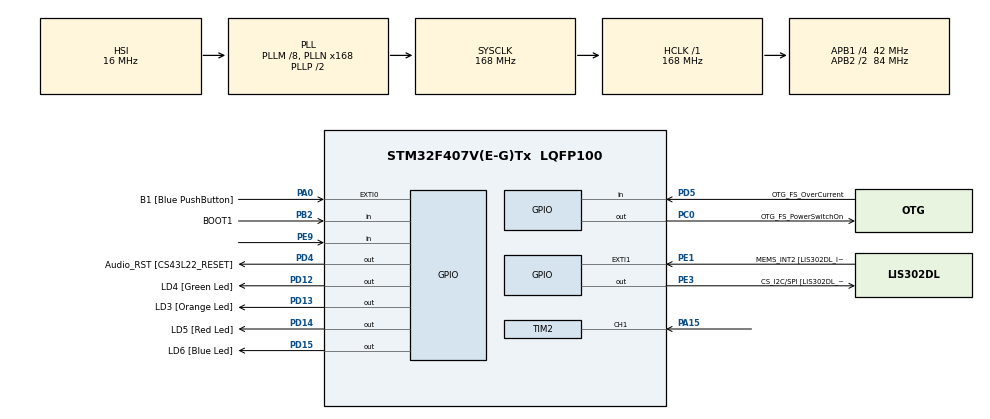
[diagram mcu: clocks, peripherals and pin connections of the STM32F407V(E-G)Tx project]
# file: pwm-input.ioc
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Mcu.Family=STM32F4
Mcu.Name=STM32F407V(E-G)Tx
Mcu.Package=LQFP100
NVIC.PriorityGroup=NVIC_PRIORITYGROUP_0
NVIC.TIM2_IRQn=true\:0\:0\:false\:false\:true\:true\:true\:true
PA0-WKUP.GPIO_Label=B1 [Blue PushButton]
PA0-WKUP.Signal=GPXTI0
PA10.GPIO_Label=OTG_FS_ID
PA10.GPIO_Mode=GPIO_MODE_AF_PP
PA10.GPIO_PuPd=GPIO_NOPULL
PA10.GPIO_Speed=GPIO_SPEED_FREQ_LOW
PA10.Signal=USB_OTG_FS_ID
PA11.GPIO_Label=OTG_FS_DM
PA11.GPIO_Mode=GPIO_MODE_AF_PP
PA11.GPIO_PuPd=GPIO_NOPULL
PA11.GPIO_Speed=GPIO_SPEED_FREQ_LOW
PA11.Signal=USB_OTG_FS_DM
PA12.GPIO_Label=OTG_FS_DP
PA12.GPIO_Mode=GPIO_MODE_AF_PP
PA12.GPIO_PuPd=GPIO_NOPULL
PA12.GPIO_Speed=GPIO_SPEED_FREQ_LOW
PA12.Signal=USB_OTG_FS_DP
PA13.GPIO_Label=SWDIO
PA13.Mode=Trace_Asynchronous_SW
PA13.Signal=SYS_JTMS-SWDIO
PA14.GPIO_Label=SWCLK
PA14.Mode=Trace_Asynchronous_SW
PA14.Signal=SYS_JTCK-SWCLK
PA15.Signal=S_TIM2_CH1_ETR
PA4.GPIO_Label=I2S3_WS [CS43L22_LRCK]
PA4.GPIO_Mode=GPIO_MODE_AF_PP
PA4.GPIO_PuPd=GPIO_NOPULL
PA4.GPIO_Speed=GPIO_SPEED_FREQ_LOW
PA4.Signal=I2S3_WS
PA5.GPIO_Label=SPI1_SCK [LIS302DL_SCL/SPC]
PA5.GPIO_Mode=GPIO_MODE_AF_PP
PA5.GPIO_PuPd=GPIO_NOPULL
PA5.GPIO_Speed=GPIO_SPEED_FREQ_LOW
PA5.Signal=SPI1_SCK
PA6.GPIO_Label=SPI1_MISO [LIS302DL_SDO]
PA6.GPIO_Mode=GPIO_MODE_AF_PP
PA6.GPIO_PuPd=GPIO_NOPULL
PA6.GPIO_Speed=GPIO_SPEED_FREQ_LOW
PA6.Signal=SPI1_MISO
PA7.GPIO_Label=SPI1_MOSI [LIS302DL_SDA/SDI/SDO]
PA7.GPIO_Mode=GPIO_MODE_AF_PP
PA7.GPIO_PuPd=GPIO_NOPULL
PA7.GPIO_Speed=GPIO_SPEED_FREQ_LOW
PA7.Signal=SPI1_MOSI
PA9.GPIO_Label=VBUS_FS
PA9.GPIO_Mode=GPIO_MODE_INPUT
PA9.GPIO_PuPd=GPIO_NOPULL
PA9.Signal=USB_OTG_FS_VBUS
PB10.GPIO_Label=CLK_IN [MP45DT02_CLK]
PB10.GPIO_Mode=GPIO_MODE_AF_PP
PB10.GPIO_PuPd=GPIO_NOPULL
PB10.GPIO_Speed=GPIO_SPEED_FREQ_LOW
PB10.Signal=I2S2_CK
PB2.GPIO_Label=BOOT1
PB2.GPIO_Mode=GPIO_MODE_INPUT
PB2.GPIO_PuPd=GPIO_NOPULL
PB2.Signal=GPIO_Input
PB3.GPIO_Label=SWO
PB3.Mode=Trace_Asynchronous_SW
PB3.Signal=SYS_JTDO-SWO
PB6.GPIO_Label=Audio_SCL [CS43L22_SCL]
PB6.GPIO_Mode=GPIO_MODE_AF_OD
PB6.GPIO_PuPd=GPIO_NOPULL
PB6.GPIO_Speed=GPIO_SPEED_FREQ_LOW
PB6.Signal=I2C1_SCL
PB9.GPIO_Label=Audio_SDA [CS43L22_SDA]
PB9.GPIO_Mode=GPIO_MODE_AF_OD
PB9.GPIO_PuPd=GPIO_NOPULL
PB9.GPIO_Speed=GPIO_SPEED_FREQ_LOW
PB9.Signal=I2C1_SDA
PC0.GPIO_Label=OTG_FS_PowerSwitchOn
PC0.GPIO_PuPd=GPIO_NOPULL
PC0.GPIO_Speed=GPIO_SPEED_FREQ_LOW
PC0.PinState=GPIO_PIN_SET
PC0.Signal=GPIO_Output
PC10.GPIO_Label=I2S3_SCK [CS43L22_SCLK]
PC10.GPIO_Mode=GPIO_MODE_AF_PP
PC10.GPIO_PuPd=GPIO_NOPULL
PC10.GPIO_Speed=GPIO_SPEED_FREQ_LOW
PC10.Signal=I2S3_CK
PC12.GPIO_Label=I2S3_SD [CS43L22_SDIN]
PC12.GPIO_Mode=GPIO_MODE_AF_PP
PC12.GPIO_PuPd=GPIO_NOPULL
PC12.GPIO_Speed=GPIO_SPEED_FREQ_LOW
PC12.Signal=I2S3_SD
PC14-OSC32_IN.GPIO_Label=PC14-OSC32_IN
PC14-OSC32_IN.Signal=RCC_OSC32_IN
PC15-OSC32_OUT.GPIO_Label=PC15-OSC32_OUT
PC15-OSC32_OUT.Signal=RCC_OSC32_OUT
PC3.GPIO_Label=PDM_OUT [MP45DT02_DOUT]
PC3.GPIO_Mode=GPIO_MODE_AF_PP
PC3.GPIO_PuPd=GPIO_NOPULL
PC3.GPIO_Speed=GPIO_SPEED_FREQ_LOW
PC3.Signal=I2S2_SD
PC7.GPIO_Label=I2S3_MCK [CS43L22_MCLK]
PC7.GPIO_Mode=GPIO_MODE_AF_PP
PC7.GPIO_PuPd=GPIO_NOPULL
PC7.GPIO_Speed=GPIO_SPEED_FREQ_LOW
PC7.Signal=I2S3_MCK
PD12.GPIO_Label=LD4 [Green Led]
PD12.GPIO_PuPd=GPIO_NOPULL
PD12.GPIO_Speed=GPIO_SPEED_FREQ_LOW
PD12.Signal=GPIO_Output
PD13.GPIO_Label=LD3 [Orange Led]
PD13.GPIO_PuPd=GPIO_NOPULL
PD13.GPIO_Speed=GPIO_SPEED_FREQ_LOW
PD13.Signal=GPIO_Output
PD14.GPIO_Label=LD5 [Red Led]
PD14.GPIO_PuPd=GPIO_NOPULL
PD14.GPIO_Speed=GPIO_SPEED_FREQ_LOW
PD14.Signal=GPIO_Output
PD15.GPIO_Label=LD6 [Blue Led]
PD15.GPIO_PuPd=GPIO_NOPULL
PD15.GPIO_Speed=GPIO_SPEED_FREQ_LOW
PD15.Signal=GPIO_Output
PD4.GPIO_Label=Audio_RST [CS43L22_RESET]
PD4.GPIO_PuPd=GPIO_NOPULL
PD4.GPIO_Speed=GPIO_SPEED_FREQ_LOW
PD4.Signal=GPIO_Output
PD5.GPIO_Label=OTG_FS_OverCurrent
PD5.GPIO_Mode=GPIO_MODE_INPUT
PD5.GPIO_PuPd=GPIO_NOPULL
PD5.Signal=GPIO_Input
PE1.GPIO_Label=MEMS_INT2 [LIS302DL_INT2]
PE1.GPIO_ModeDefaultEXTI=GPIO_MODE_EVT_RISING
PE1.GPIO_PuPd=GPIO_NOPULL
PE1.Signal=GPXTI1
PE3.GPIO_Label=CS_I2C/SPI [LIS302DL_CS_I2C/SPI]
PE3.GPIO_PuPd=GPIO_NOPULL
PE3.GPIO_Speed=GPIO_SPEED_FREQ_LOW
PE3.Signal=GPIO_Output
PE9.Signal=GPIO_Input
PH0-OSC_IN.GPIO_Label=PH0-OSC_IN
PH0-OSC_IN.Mode=HSE-External-Oscillator
PH0-OSC_IN.Signal=RCC_OSC_IN
PH1-OSC_OUT.GPIO_Label=PH1-OSC_OUT
PH1-OSC_OUT.Mode=HSE-External-Oscillator
PH1-OSC_OUT.Signal=RCC_OSC_OUT
ProjectManager.HeapSize=0x200
ProjectManager.StackSize=0x400
ProjectManager.TargetToolchain=STM32CubeIDE
RCC.48MHZClocksFreq_Value=48000000
RCC.AHBFreq_Value=168000000
RCC.APB1CLKDivider=RCC_HCLK_DIV4
RCC.APB1Freq_Value=42000000
RCC.APB1TimFreq_Value=84000000
RCC.APB2CLKDivider=RCC_HCLK_DIV2
RCC.APB2Freq_Value=84000000
RCC.APB2TimFreq_Value=168000000
RCC.CortexFreq_Value=168000000
RCC.HCLKFreq_Value=168000000
RCC.HSE_VALUE=8000000
RCC.HSI_VALUE=16000000
RCC.LSE_VALUE=32768
RCC.PLLM=8
RCC.PLLN=168
RCC.PLLQ=7
RCC.SYSCLKFreq_VALUE=168000000
RCC.SYSCLKSource=RCC_SYSCLKSOURCE_PLLCLK
RCC.VCOOutputFreq_Value=336000000
SH.S_TIM2_CH1_ETR.0=TIM2_CH1,Input_Capture1_from_TI1
TIM1.Period=65535
TIM1.Prescaler=168-1
TIM2.AutoReloadPreload=TIM_AUTORELOAD_PRELOAD_DISABLE
TIM2.Channel-Input_Capture1_from_TI1=TIM_CHANNEL_1
TIM2.ICPolarity_CH1=TIM_INPUTCHANNELPOLARITY_BOTHEDGE
TIM2.Period=0xFFFFFFFF
TIM2.Prescaler=84-1
VP_TIM1_VS_ClockSourceINT.Mode=Internal
VP_TIM2_VS_ClockSourceINT.Mode=Internal
board=STM32F407G-DISC1

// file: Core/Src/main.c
/* USER CODE BEGIN Header */
/**
  ******************************************************************************
  * @file           : main.c
  * @brief          : Main program body
  ******************************************************************************
  * @attention
  *
  * Copyright (c) 2025 STMicroelectronics.
  * All rights reserved.
  *
  * This software is licensed under terms that can be found in the LICENSE file
  * in the root directory of this software component.
  * If no LICENSE file comes with this software, it is provided AS-IS.
  *
  ******************************************************************************
  */
/* USER CODE END Header */
#include "main.h"

/* USER CODE BEGIN Includes */
#include <inttypes.h>
#include <stdbool.h>
/* USER CODE END Includes */

TIM_HandleTypeDef htim1;
TIM_HandleTypeDef htim2;

/* USER CODE BEGIN PV */
#define UID 3001
/* USER CODE END PV */

void SystemClock_Config(void);
static void MX_GPIO_Init(void);
static void MX_TIM2_Init(void);
static void MX_TIM1_Init(void);
/* USER CODE BEGIN PFP */

#define DATA_SIZE 200
volatile uint32_t bitStream[DATA_SIZE]; // Store decoded bits
volatile int bitIndex = 0;
volatile uint64_t idle_timer=0;
/* USER CODE END PFP */

/* USER CODE BEGIN 0 */
bool  encode_data(uint16_t *uid,uint16_t *Soil_Moisture_20cm_L,uint16_t  *Soil_Moisture_40cm_L)
{int i ;
	for(i=0;i<104;i++){

		 printf("%d ",bitStream[i]);
	}
	 printf("\n");
return true;
}

void command_received()
{
	uint16_t Soil_Moisture_20cm_L,Soil_Moisture_40cm_L,uid;

	encode_data(&uid,&Soil_Moisture_20cm_L,&Soil_Moisture_40cm_L);

	 printf(" 20cm:%d  40cm:%d uid:%d bits=%d\n",Soil_Moisture_20cm_L,Soil_Moisture_40cm_L,uid,bitIndex);
	 bitIndex=0;

}
int _write(int file, char *ptr, int len)
{
  /* Implement your write code here, this is used by puts and printf for example */
  int i=0;
  for(i=0 ; i<len ; i++)
    ITM_SendChar((*ptr++));
  return len;
}
void clear_idle_timer()
{
	idle_timer=0;
}

bool idle_time()
{
	const uint64_t max_counter= 5000;

	if(idle_timer<max_counter)
	{
	idle_timer++;
	GPIOD->ODR &= ~GPIO_PIN_15;
	return false;
	}
	if(idle_timer==max_counter)
	{
		GPIOD->ODR |= GPIO_PIN_15; // Toggle LED for debugging
		command_received();
		idle_timer++;

	}
	   return true;

}
void HAL_TIM_IC_CaptureCallback(TIM_HandleTypeDef *htim)
{
		static uint32_t prev=0,current=0;
    if (htim->Instance == TIM2)
    {
        if (htim->Channel == HAL_TIM_ACTIVE_CHANNEL_1)
        {
        	clear_idle_timer();
        	if(bitIndex==0){
        		prev =HAL_TIM_ReadCapturedValue(htim, TIM_CHANNEL_1);
        		bitStream[0] =prev;
        		bitIndex++;
        		return;
        	}
        	if(bitIndex<DATA_SIZE)
        	{
			current=HAL_TIM_ReadCapturedValue(htim, TIM_CHANNEL_1);
			bitStream[bitIndex] =current-prev;
			prev=current;
			bitIndex++;
        	}

        }
    }
}
void delay_us (uint16_t us)
{
	__HAL_TIM_SET_COUNTER(&htim1,0);  // set the counter value a 0
	while (__HAL_TIM_GET_COUNTER(&htim1) < us);  // wait for the counter to reach the us input in the parameter
}

/* USER CODE END 0 */

int main(void)
{

  /* MCU Configuration--------------------------------------------------------*/

  /* Reset of all peripherals, Initializes the Flash interface and the Systick. */
  HAL_Init();

  /* Configure the system clock */
  SystemClock_Config();

  /* Initialize all configured peripherals */
  MX_GPIO_Init();
  MX_TIM2_Init();
  MX_TIM1_Init();
  /* USER CODE BEGIN 2 */
  HAL_TIM_Base_Start(&htim1);
//  HAL_TIM_PWM_Start(&htim1, TIM_CHANNEL_1);
  HAL_TIM_IC_Start_IT(&htim2, TIM_CHANNEL_1);

  /* USER CODE END 2 */

  /* Infinite loop */
  /* USER CODE BEGIN WHILE */
  while (1)
  {

	  idle_time();

//	  sendManchesterEncodedData(6,8);
//        HAL_TIM_IC_Stop_IT(&htim2, TIM_CHANNEL_1);
//    printf("Delta edge0: %d, edge1: %d delta=%d \n", edge[0], edge[1],(edge[1]-edge[0]));
//    HAL_TIM_IC_Start_IT(&htim2, TIM_CHANNEL_1);
  //  HAL_Delay(100);
    /* USER CODE END WHILE */

  }
}

void SystemClock_Config(void)
{
  RCC_OscInitTypeDef RCC_OscInitStruct = {0};
  RCC_ClkInitTypeDef RCC_ClkInitStruct = {0};

  /** Configure the main internal regulator output voltage
  */
  __HAL_RCC_PWR_CLK_ENABLE();
  __HAL_PWR_VOLTAGESCALING_CONFIG(PWR_REGULATOR_VOLTAGE_SCALE1);

  /** Initializes the RCC Oscillators according to the specified parameters
  * in the RCC_OscInitTypeDef structure.
  */
  RCC_OscInitStruct.OscillatorType = RCC_OSCILLATORTYPE_HSI;
  RCC_OscInitStruct.HSIState = RCC_HSI_ON;
  RCC_OscInitStruct.HSICalibrationValue = RCC_HSICALIBRATION_DEFAULT;
  RCC_OscInitStruct.PLL.PLLState = RCC_PLL_ON;
  RCC_OscInitStruct.PLL.PLLSource = RCC_PLLSOURCE_HSI;
  RCC_OscInitStruct.PLL.PLLM = 8;
  RCC_OscInitStruct.PLL.PLLN = 168;
  RCC_OscInitStruct.PLL.PLLP = RCC_PLLP_DIV2;
  RCC_OscInitStruct.PLL.PLLQ = 7;
  if (HAL_RCC_OscConfig(&RCC_OscInitStruct) != HAL_OK)
  {
    Error_Handler();
  }

  /** Initializes the CPU, AHB and APB buses clocks
  */
  RCC_ClkInitStruct.ClockType = RCC_CLOCKTYPE_HCLK|RCC_CLOCKTYPE_SYSCLK
                              |RCC_CLOCKTYPE_PCLK1|RCC_CLOCKTYPE_PCLK2;
  RCC_ClkInitStruct.SYSCLKSource = RCC_SYSCLKSOURCE_PLLCLK;
  RCC_ClkInitStruct.AHBCLKDivider = RCC_SYSCLK_DIV1;
  RCC_ClkInitStruct.APB1CLKDivider = RCC_HCLK_DIV4;
  RCC_ClkInitStruct.APB2CLKDivider = RCC_HCLK_DIV2;

  if (HAL_RCC_ClockConfig(&RCC_ClkInitStruct, FLASH_LATENCY_5) != HAL_OK)
  {
    Error_Handler();
  }
}

static void MX_TIM1_Init(void)
{

  TIM_ClockConfigTypeDef sClockSourceConfig = {0};
  TIM_MasterConfigTypeDef sMasterConfig = {0};

  htim1.Instance = TIM1;
  htim1.Init.Prescaler = 168-1;
  htim1.Init.CounterMode = TIM_COUNTERMODE_UP;
  htim1.Init.Period = 65535;
  htim1.Init.ClockDivision = TIM_CLOCKDIVISION_DIV1;
  htim1.Init.RepetitionCounter = 0;
  htim1.Init.AutoReloadPreload = TIM_AUTORELOAD_PRELOAD_DISABLE;
  if (HAL_TIM_Base_Init(&htim1) != HAL_OK)
  {
    Error_Handler();
  }
  sClockSourceConfig.ClockSource = TIM_CLOCKSOURCE_INTERNAL;
  if (HAL_TIM_ConfigClockSource(&htim1, &sClockSourceConfig) != HAL_OK)
  {
    Error_Handler();
  }
  sMasterConfig.MasterOutputTrigger = TIM_TRGO_RESET;
  sMasterConfig.MasterSlaveMode = TIM_MASTERSLAVEMODE_DISABLE;
  if (HAL_TIMEx_MasterConfigSynchronization(&htim1, &sMasterConfig) != HAL_OK)
  {
    Error_Handler();
  }

}

static void MX_TIM2_Init(void)
{

  TIM_ClockConfigTypeDef sClockSourceConfig = {0};
  TIM_MasterConfigTypeDef sMasterConfig = {0};
  TIM_IC_InitTypeDef sConfigIC = {0};

  htim2.Instance = TIM2;
  htim2.Init.Prescaler = 84-1;
  htim2.Init.CounterMode = TIM_COUNTERMODE_UP;
  htim2.Init.Period = 0xFFFFFFFF;
  htim2.Init.ClockDivision = TIM_CLOCKDIVISION_DIV1;
  htim2.Init.AutoReloadPreload = TIM_AUTORELOAD_PRELOAD_DISABLE;
  if (HAL_TIM_Base_Init(&htim2) != HAL_OK)
  {
    Error_Handler();
  }
  sClockSourceConfig.ClockSource = TIM_CLOCKSOURCE_INTERNAL;
  if (HAL_TIM_ConfigClockSource(&htim2, &sClockSourceConfig) != HAL_OK)
  {
    Error_Handler();
  }
  if (HAL_TIM_IC_Init(&htim2) != HAL_OK)
  {
    Error_Handler();
  }
  sMasterConfig.MasterOutputTrigger = TIM_TRGO_RESET;
  sMasterConfig.MasterSlaveMode = TIM_MASTERSLAVEMODE_DISABLE;
  if (HAL_TIMEx_MasterConfigSynchronization(&htim2, &sMasterConfig) != HAL_OK)
  {
    Error_Handler();
  }
  sConfigIC.ICPolarity = TIM_INPUTCHANNELPOLARITY_BOTHEDGE;
  sConfigIC.ICSelection = TIM_ICSELECTION_DIRECTTI;
  sConfigIC.ICPrescaler = TIM_ICPSC_DIV1;
  sConfigIC.ICFilter = 0;
  if (HAL_TIM_IC_ConfigChannel(&htim2, &sConfigIC, TIM_CHANNEL_1) != HAL_OK)
  {
    Error_Handler();
  }
  /* USER CODE BEGIN TIM2_Init 2 */
  	HAL_NVIC_SetPriority(TIM2_IRQn, 0, 0);
    HAL_NVIC_EnableIRQ(TIM2_IRQn);
  /* USER CODE END TIM2_Init 2 */

}

static void MX_GPIO_Init(void)
{
  GPIO_InitTypeDef GPIO_InitStruct = {0};

  /* GPIO Ports Clock Enable */
  __HAL_RCC_GPIOE_CLK_ENABLE();
  __HAL_RCC_GPIOC_CLK_ENABLE();
  __HAL_RCC_GPIOH_CLK_ENABLE();
  __HAL_RCC_GPIOA_CLK_ENABLE();
  __HAL_RCC_GPIOB_CLK_ENABLE();
  __HAL_RCC_GPIOD_CLK_ENABLE();

  /*Configure GPIO pin Output Level */
  HAL_GPIO_WritePin(CS_I2C_SPI_GPIO_Port, CS_I2C_SPI_Pin, GPIO_PIN_RESET);

  /*Configure GPIO pin Output Level */
  HAL_GPIO_WritePin(OTG_FS_PowerSwitchOn_GPIO_Port, OTG_FS_PowerSwitchOn_Pin, GPIO_PIN_SET);

  /*Configure GPIO pin Output Level */
  HAL_GPIO_WritePin(GPIOD, LD4_Pin|LD3_Pin|LD5_Pin|LD6_Pin
                          |Audio_RST_Pin, GPIO_PIN_RESET);

  /*Configure GPIO pin : CS_I2C_SPI_Pin */
  GPIO_InitStruct.Pin = CS_I2C_SPI_Pin;
  GPIO_InitStruct.Mode = GPIO_MODE_OUTPUT_PP;
  GPIO_InitStruct.Pull = GPIO_NOPULL;
  GPIO_InitStruct.Speed = GPIO_SPEED_FREQ_LOW;
  HAL_GPIO_Init(CS_I2C_SPI_GPIO_Port, &GPIO_InitStruct);

  /*Configure GPIO pin : OTG_FS_PowerSwitchOn_Pin */
  GPIO_InitStruct.Pin = OTG_FS_PowerSwitchOn_Pin;
  GPIO_InitStruct.Mode = GPIO_MODE_OUTPUT_PP;
  GPIO_InitStruct.Pull = GPIO_NOPULL;
  GPIO_InitStruct.Speed = GPIO_SPEED_FREQ_LOW;
  HAL_GPIO_Init(OTG_FS_PowerSwitchOn_GPIO_Port, &GPIO_InitStruct);

  /*Configure GPIO pin : PDM_OUT_Pin */
  GPIO_InitStruct.Pin = PDM_OUT_Pin;
  GPIO_InitStruct.Mode = GPIO_MODE_AF_PP;
  GPIO_InitStruct.Pull = GPIO_NOPULL;
  GPIO_InitStruct.Speed = GPIO_SPEED_FREQ_LOW;
  GPIO_InitStruct.Alternate = GPIO_AF5_SPI2;
  HAL_GPIO_Init(PDM_OUT_GPIO_Port, &GPIO_InitStruct);

  /*Configure GPIO pin : B1_Pin */
  GPIO_InitStruct.Pin = B1_Pin;
  GPIO_InitStruct.Mode = GPIO_MODE_IT_RISING;
  GPIO_InitStruct.Pull = GPIO_NOPULL;
  HAL_GPIO_Init(B1_GPIO_Port, &GPIO_InitStruct);

  /*Configure GPIO pin : I2S3_WS_Pin */
  GPIO_InitStruct.Pin = I2S3_WS_Pin;
  GPIO_InitStruct.Mode = GPIO_MODE_AF_PP;
  GPIO_InitStruct.Pull = GPIO_NOPULL;
  GPIO_InitStruct.Speed = GPIO_SPEED_FREQ_LOW;
  GPIO_InitStruct.Alternate = GPIO_AF6_SPI3;
  HAL_GPIO_Init(I2S3_WS_GPIO_Port, &GPIO_InitStruct);

  /*Configure GPIO pins : SPI1_SCK_Pin SPI1_MISO_Pin SPI1_MOSI_Pin */
  GPIO_InitStruct.Pin = SPI1_SCK_Pin|SPI1_MISO_Pin|SPI1_MOSI_Pin;
  GPIO_InitStruct.Mode = GPIO_MODE_AF_PP;
  GPIO_InitStruct.Pull = GPIO_NOPULL;
  GPIO_InitStruct.Speed = GPIO_SPEED_FREQ_LOW;
  GPIO_InitStruct.Alternate = GPIO_AF5_SPI1;
  HAL_GPIO_Init(GPIOA, &GPIO_InitStruct);

  /*Configure GPIO pin : BOOT1_Pin */
  GPIO_InitStruct.Pin = BOOT1_Pin;
  GPIO_InitStruct.Mode = GPIO_MODE_INPUT;
  GPIO_InitStruct.Pull = GPIO_NOPULL;
  HAL_GPIO_Init(BOOT1_GPIO_Port, &GPIO_InitStruct);

  /*Configure GPIO pin : PE9 */
  GPIO_InitStruct.Pin = GPIO_PIN_9;
  GPIO_InitStruct.Mode = GPIO_MODE_INPUT;
  GPIO_InitStruct.Pull = GPIO_NOPULL;
  HAL_GPIO_Init(GPIOE, &GPIO_InitStruct);

  /*Configure GPIO pin : CLK_IN_Pin */
  GPIO_InitStruct.Pin = CLK_IN_Pin;
  GPIO_InitStruct.Mode = GPIO_MODE_AF_PP;
  GPIO_InitStruct.Pull = GPIO_NOPULL;
  GPIO_InitStruct.Speed = GPIO_SPEED_FREQ_LOW;
  GPIO_InitStruct.Alternate = GPIO_AF5_SPI2;
  HAL_GPIO_Init(CLK_IN_GPIO_Port, &GPIO_InitStruct);

  /*Configure GPIO pins : LD4_Pin LD3_Pin LD5_Pin LD6_Pin
                           Audio_RST_Pin */
  GPIO_InitStruct.Pin = LD4_Pin|LD3_Pin|LD5_Pin|LD6_Pin
                          |Audio_RST_Pin;
  GPIO_InitStruct.Mode = GPIO_MODE_OUTPUT_PP;
  GPIO_InitStruct.Pull = GPIO_NOPULL;
  GPIO_InitStruct.Speed = GPIO_SPEED_FREQ_LOW;
  HAL_GPIO_Init(GPIOD, &GPIO_InitStruct);

  /*Configure GPIO pins : I2S3_MCK_Pin I2S3_SCK_Pin I2S3_SD_Pin */
  GPIO_InitStruct.Pin = I2S3_MCK_Pin|I2S3_SCK_Pin|I2S3_SD_Pin;
  GPIO_InitStruct.Mode = GPIO_MODE_AF_PP;
  GPIO_InitStruct.Pull = GPIO_NOPULL;
  GPIO_InitStruct.Speed = GPIO_SPEED_FREQ_LOW;
  GPIO_InitStruct.Alternate = GPIO_AF6_SPI3;
  HAL_GPIO_Init(GPIOC, &GPIO_InitStruct);

  /*Configure GPIO pin : VBUS_FS_Pin */
  GPIO_InitStruct.Pin = VBUS_FS_Pin;
  GPIO_InitStruct.Mode = GPIO_MODE_INPUT;
  GPIO_InitStruct.Pull = GPIO_NOPULL;
  HAL_GPIO_Init(VBUS_FS_GPIO_Port, &GPIO_InitStruct);

  /*Configure GPIO pins : OTG_FS_ID_Pin OTG_FS_DM_Pin OTG_FS_DP_Pin */
  GPIO_InitStruct.Pin = OTG_FS_ID_Pin|OTG_FS_DM_Pin|OTG_FS_DP_Pin;
  GPIO_InitStruct.Mode = GPIO_MODE_AF_PP;
  GPIO_InitStruct.Pull = GPIO_NOPULL;
  GPIO_InitStruct.Speed = GPIO_SPEED_FREQ_LOW;
  GPIO_InitStruct.Alternate = GPIO_AF10_OTG_FS;
  HAL_GPIO_Init(GPIOA, &GPIO_InitStruct);

  /*Configure GPIO pin : OTG_FS_OverCurrent_Pin */
  GPIO_InitStruct.Pin = OTG_FS_OverCurrent_Pin;
  GPIO_InitStruct.Mode = GPIO_MODE_INPUT;
  GPIO_InitStruct.Pull = GPIO_NOPULL;
  HAL_GPIO_Init(OTG_FS_OverCurrent_GPIO_Port, &GPIO_InitStruct);

  /*Configure GPIO pins : Audio_SCL_Pin Audio_SDA_Pin */
  GPIO_InitStruct.Pin = Audio_SCL_Pin|Audio_SDA_Pin;
  GPIO_InitStruct.Mode = GPIO_MODE_AF_OD;
  GPIO_InitStruct.Pull = GPIO_NOPULL;
  GPIO_InitStruct.Speed = GPIO_SPEED_FREQ_LOW;
  GPIO_InitStruct.Alternate = GPIO_AF4_I2C1;
  HAL_GPIO_Init(GPIOB, &GPIO_InitStruct);

  /*Configure GPIO pin : MEMS_INT2_Pin */
  GPIO_InitStruct.Pin = MEMS_INT2_Pin;
  GPIO_InitStruct.Mode = GPIO_MODE_EVT_RISING;
  GPIO_InitStruct.Pull = GPIO_NOPULL;
  HAL_GPIO_Init(MEMS_INT2_GPIO_Port, &GPIO_InitStruct);

}

void Error_Handler(void)
{
  __disable_irq();
  while (1)
  {
  }
}
